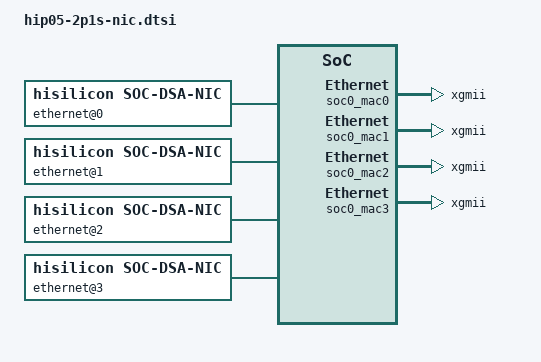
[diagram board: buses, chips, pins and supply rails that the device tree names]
/*网口主片dts*/
soc0: soc@000000000 {
	#address-cells = <2>;
	#size-cells = <2>;
	device_type = "soc";
	compatible = "simple-bus";
	ranges = <0x0 0x0 0x0 0x0 0x1 0x0>;
	chip-id = <0>;
		
	/* dsa信息定义 */
	soc0_dsa: dsa@c7000000 {
		compatible = "hisilicon,dsa";
		reg = <0x0 0xc7000000 0x0 0x40000>;			
                  interrupt-parent = <&mbigen_dsa>;
                  interrupts = <131 4>, <132 4>,
                               <133 4>, <134 4>,
                               <135 4>, <136 4>,
                               <137 4>, <138 4>,
                               <139 4>, <140 4>,
                               <141 4>, <142 4>,
                               <143 4>, <144 4>,
                               <145 4>, <146 4>,
                               <147 4>, <148 4>;
		irq-num = <13059>;
		dsa-mode = <12>;
		cdev-no = <200>;
		m3-enable = <0>;
	};	
	
	/* 业务网口定义 */
	soc0_mac0: ethernet-mac@c7040000 {
		mac-index = <0>;		/* 物理上的网口编号，由芯片决定，此编号需要与下面的地址、中断号对应 */
		compatible = "hisilicon,mac-multi";
		reg = <0x0 0xc7040000 0x0 0x4000  
		       0x0 0xc7020000 0x0 0x4000
		       0x0 0xC0000000 0x0 0x10000
		       0x0 0xC2200000 0x0 0x100000>;	
		irq-num = <13077>;       	
		phy-connection-type = "xgmii";
	};
	soc0_mac1: ethernet-mac@c7044000 {
		mac-index = <1>;		/* 物理上的网口编号，由芯片决定，此编号需要与下面的地址、中断号对应 */
		compatible = "hisilicon,mac-multi";
		reg = <0x0 0xc7044000 0x0 0x4000
		       0x0 0xc7024000 0x0 0x4000
		       0x0 0xC0000000 0x0 0x10000
		       0x0 0xC2200000 0x0 0x100000>;
		       	
		irq-num = <13078>;       	     
		phy-connection-type = "xgmii";
	};
	soc0_mac2: ethernet-mac@c7048000 {
		mac-index = <2>;		/* 物理上的网口编号，由芯片决定，此编号需要与下面的地址、中断号对应 */
		compatible = "hisilicon,mac-multi";
		reg = <0x0 0xc7048000 0x0 0x4000
		       0x0 0xc7028000 0x0 0x4000
		       0x0 0xC0000000 0x0 0x10000
		       0x0 0xC2200000 0x0 0x100000>;	
		irq-num = <13079>;       
		phy-connection-type = "xgmii";
	};
	soc0_mac3: ethernet-mac@c704c000 {
		mac-index = <3>;		/* 物理上的网口编号，由芯片决定，此编号需要与下面的地址、中断号对应 */
		compatible = "hisilicon,mac-multi";
		reg = <0x0 0xc704c000 0x0 0x4000
		       0x0 0xc702c000 0x0 0x4000
		       0x0 0xC0000000 0x0 0x10000
		       0x0 0xC2200000 0x0 0x100000>;	
		irq-num = <13080>;      
		phy-connection-type = "xgmii";
	};

	
	soc0_ppe0:ppe@c5070000 {
		#address-cells = <2>;
		#size-cells = <1>;
		compatible = "hisilicon,ppe-multi";
		ranges = <0x0 0x0 0x0 0x0 0xffffffff>;
		reg = <0x0 0xc5070000 0x0 0x10000>;  
		ppe-common-index = <0>;
		soc0_ppe_group0:ppe-group@c5000000 {
			compatible = "hisilicon,ppe-group";
			reg = <0x0 0xc5000000 0x10000>;	
			irq-num = <12928>;      
			ppe-num = <1>;  	
		};
		soc0_ppe_group1:ppe-group@c5010000 {
			compatible = "hisilicon,ppe-group";
			reg = <0x0 0xc5010000 0x10000>;	
			irq-num = <12929>; 
			ppe-num = <1>;  
		};
		soc0_ppe_group2:ppe-group@c5020000 {
			compatible = "hisilicon,ppe-group";
			reg = <0x0 0xc5020000 0x10000>;	
			irq-num = <12930>;      
			ppe-num = <1>;  	
		};
		soc0_ppe_group3:ppe-group@c5030000 {
			compatible = "hisilicon,ppe-group";
			reg = <0x0 0xc5030000 0x10000>;	
			irq-num = <12931>; 
			ppe-num = <1>;  
		};

	};
	
	soc0_rcb0:rcb@c5080000 {
		#address-cells = <2>;
		#size-cells = <1>;
		compatible = "hisilicon,rcb","hisilicon,rcb-multi";
		ranges = <0x0 0x0 0x0 0x0 0xffffffff>;
		reg = <0x0 0xc5080000 0x0 0x10000>;  	
		irq-num = <12934>;      		 
		soc0_rcb_group0:rcb-group@c5090000 {
			compatible = "hisilicon,rcb-group";
			reg = <0x0 0xc5090000 0x100000>;	
			interrupt-parent = <&mbigen_dsa>;
			interrupts = <384 1>, <385 1>,
                        		<386 1>, <387 1>,
                                       <388 1>, <389 1>,
                                       <390 1>, <391 1>,
                                       <392 1>, <393 1>,
                                       <394 1>, <395 1>,
                                       <396 1>, <397 1>,
                                       <398 1>, <399 1>,
                                       <400 1>, <401 1>,
                                       <402 1>, <403 1>,
                                       <404 1>, <405 1>,
                                       <406 1>, <407 1>,
                                       <408 1>, <409 1>,
                                       <410 1>, <411 1>,
                                       <412 1>, <413 1>,
                                       <414 1>, <415 1>;
			irq-num = <13312>;	
			buf-size = <4096>;
			desc-num = <1024>;	
		};
		soc0_rcb_group1:rcb-group@c5190000 {
			compatible = "hisilicon,rcb-group";
			reg = <0x0 0xc5190000 0x100000>;	
			interrupt-parent = <&mbigen_dsa>;
			interrupts = <416 1>, <417 1>,
                        		<418 1>, <419 1>,
                                       <420 1>, <421 1>,
                                       <422 1>, <423 1>,
                                       <424 1>, <425 1>,
                                       <426 1>, <427 1>,
                                       <428 1>, <429 1>,
                                       <430 1>, <431 1>,
                                       <432 1>, <433 1>,
                                       <434 1>, <435 1>,
                                       <436 1>, <437 1>,
                                       <438 1>, <439 1>,
                                       <440 1>, <441 1>,
                                       <442 1>, <443 1>,
                                       <444 1>, <445 1>,
                                       <446 1>, <447 1>;
			irq-num = <13344>;
			buf-size = <4096>; 
			desc-num = <1024>;	
		};
		soc0_rcb_group2:rcb-group@c5290000 {
			compatible = "hisilicon,rcb-group";
			reg = <0x0 0xc5290000 0x100000>;	
			interrupt-parent = <&mbigen_dsa>;
			interrupts = <448 1>, <449 1>,
                        		<450 1>, <451 1>,
                                       <452 1>, <453 1>,
                                       <454 1>, <455 1>,
                                       <456 1>, <457 1>,
                                       <458 1>, <459 1>,
                                       <460 1>, <461 1>,
                                       <462 1>, <463 1>,
                                       <464 1>, <465 1>,
                                       <466 1>, <467 1>,
                                       <468 1>, <469 1>,
                                       <470 1>, <471 1>,
                                       <472 1>, <473 1>,
                                       <474 1>, <475 1>,
                                       <476 1>, <477 1>,
                                       <478 1>, <479 1>;	
			irq-num = <13376>;	
			buf-size = <4096>;
			desc-num = <1024>;	
		};
		soc0_rcb_group3:rcb-group@c5390000 {
			compatible = "hisilicon,rcb-group";
			reg = <0x0 0xc5390000 0x100000>;	
			interrupt-parent = <&mbigen_dsa>;
			interrupts = <480 1>, <481 1>,
                        		<482 1>, <483 1>,
                                       <484 1>, <485 1>,
                                       <486 1>, <487 1>,
                                       <488 1>, <489 1>,
                                       <490 1>, <491 1>,
                                       <492 1>, <493 1>,
                                       <494 1>, <495 1>,
                                       <496 1>, <497 1>,
                                       <498 1>, <499 1>,
                                       <500 1>, <501 1>,
                                       <502 1>, <503 1>,
                                       <504 1>, <505 1>,
                                       <506 1>, <507 1>,
                                       <508 1>, <509 1>,
                                       <510 1>, <511 1>;	
			irq-num = <13408>;
			buf-size = <4096>; 
			desc-num = <1024>;	
		};

	};      	      	
		
	ethernet@0 {
		compatible = "hisilicon,soc-dsa-nic";
		mac-handle = <&soc0_mac0>;
		nic-id = <0>; /* 如果定义了mac-handle，则按照mac-handle定义的ID来编号，否则按照这里定义的ID来编号， */
		ppe-group-handle = <&soc0_ppe_group0>;
		rcb-group-handle = <&soc0_rcb_group0>; /* 当设置为0时，直接根据DSA队列生成模式分配队列 */
		local-mac-address = [00 00 00 01 00 5A];	
		dma-coherent;				
	};	
	ethernet@1 {
		compatible = "hisilicon,soc-dsa-nic";				
		mac-handle = <&soc0_mac1>;
		nic-id = <1>;
		ppe-group-handle = <&soc0_ppe_group1>;
		rcb-group-handle = <&soc0_rcb_group1>; /* 当设置为0时，直接根据DSA队列生成模式分配队列 */
		local-mac-address = [00 00 00 01 00 5B];
		dma-coherent;					
	};
	ethernet@2 {
		compatible = "hisilicon,soc-dsa-nic";
		mac-handle = <&soc0_mac2>;
		nic-id = <2>; /* 如果定义了mac-handle，则按照mac-handle定义的ID来编号，否则按照这里定义的ID来编号， */
		ppe-group-handle = <&soc0_ppe_group2>;
		rcb-group-handle = <&soc0_rcb_group2>; /* 当设置为0时，直接根据DSA队列生成模式分配队列 */
		local-mac-address = [00 00 00 01 00 5C];
		dma-coherent;					
	};	
	ethernet@3 {
		compatible = "hisilicon,soc-dsa-nic";				
		mac-handle = <&soc0_mac3>;
		nic-id = <3>;
		ppe-group-handle = <&soc0_ppe_group3>;
		rcb-group-handle = <&soc0_rcb_group3>; /* 当设置为0时，直接根据DSA队列生成模式分配队列 */
		local-mac-address = [00 00 00 01 00 5D];
		dma-coherent;					
	};
	
}; /* soc0 */
		
			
